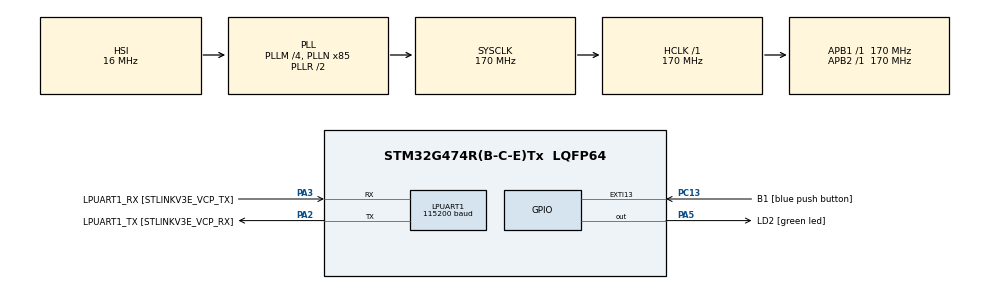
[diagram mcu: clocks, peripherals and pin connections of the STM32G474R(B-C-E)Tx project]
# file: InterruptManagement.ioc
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FREERTOS.Tasks01=defaultTask,24,128,StartDefaultTask,Default,NULL,Dynamic,NULL,NULL
FREERTOS.configENABLE_FPU=1
FREERTOS.configTOTAL_HEAP_SIZE=51200
FREERTOS.configUSE_NEWLIB_REENTRANT=1
LPUART1.BaudRate=115200
LPUART1.WordLength=UART_WORDLENGTH_8B
Mcu.Family=STM32G4
Mcu.Name=STM32G474R(B-C-E)Tx
Mcu.Package=LQFP64
NVIC.EXTI15_10_IRQn=true\:5\:0\:false\:false\:true\:true\:true\:true\:true
NVIC.PriorityGroup=NVIC_PRIORITYGROUP_4
NVIC.TIM1_UP_TIM16_IRQn=true\:15\:0\:false\:false\:true\:false\:false\:true\:true
NVIC.TIM6_DAC_IRQn=true\:5\:0\:false\:false\:true\:true\:true\:true\:true
NVIC.TimeBase=TIM1_UP_TIM16_IRQn
NVIC.TimeBaseIP=TIM1
PA13.GPIO_Label=T_SWDIO
PA13.Mode=Serial_Wire
PA13.Signal=SYS_JTMS-SWDIO
PA14.GPIO_Label=T_SWCLK
PA14.Mode=Serial_Wire
PA14.Signal=SYS_JTCK-SWCLK
PA2.GPIO_Label=LPUART1_TX [STLINKV3E_VCP_RX]
PA2.Mode=Asynchronous
PA2.Signal=LPUART1_TX
PA3.GPIO_Label=LPUART1_RX [STLINKV3E_VCP_TX]
PA3.Mode=Asynchronous
PA3.Signal=LPUART1_RX
PA5.GPIO_Label=LD2 [green led]
PA5.Signal=GPIO_Output
PB3.GPIO_Label=T_SWO
PB3.Signal=SYS_JTDO-SWO
PC13.GPIO_Label=B1 [blue push button]
PC13.Signal=GPXTI13
PC14-OSC32_IN.Mode=LSE-External-Oscillator
PC14-OSC32_IN.Signal=RCC_OSC32_IN
PC15-OSC32_OUT.Mode=LSE-External-Oscillator
PC15-OSC32_OUT.Signal=RCC_OSC32_OUT
PF0-OSC_IN.Mode=HSE-External-Oscillator
PF0-OSC_IN.Signal=RCC_OSC_IN
PF1-OSC_OUT.Mode=HSE-External-Oscillator
PF1-OSC_OUT.Signal=RCC_OSC_OUT
ProjectManager.HeapSize=0x200
ProjectManager.StackSize=0x400
ProjectManager.TargetToolchain=STM32CubeIDE
RCC.ADC12Freq_Value=170000000
RCC.ADC345Freq_Value=170000000
RCC.AHBFreq_Value=170000000
RCC.APB1Freq_Value=170000000
RCC.APB1TimFreq_Value=170000000
RCC.APB2Freq_Value=170000000
RCC.APB2TimFreq_Value=170000000
RCC.CortexFreq_Value=170000000
RCC.EXTERNAL_CLOCK_VALUE=12288000
RCC.HCLKFreq_Value=170000000
RCC.HSE_VALUE=24000000
RCC.HSI48_VALUE=48000000
RCC.HSI_VALUE=16000000
RCC.PLLM=RCC_PLLM_DIV4
RCC.PLLN=85
RCC.RTCClockSelection=RCC_RTCCLKSOURCE_LSE
RCC.SYSCLKFreq_VALUE=170000000
RCC.SYSCLKSource=RCC_SYSCLKSOURCE_PLLCLK
RCC.USBFreq_Value=170000000
RCC.VCOOutputFreq_Value=340000000
TIM6.AutoReloadPreload=TIM_AUTORELOAD_PRELOAD_ENABLE
TIM6.PeriodNoDither=8000-1
TIM6.Prescaler=10000-1
VP_FREERTOS_VS_CMSIS_V2.Mode=CMSIS_V2
VP_SYS_VS_DBSignals.Mode=DisableDeadBatterySignals
VP_SYS_VS_tim1.Mode=TIM1
VP_TIM6_VS_ClockSourceINT.Mode=Enable_Timer
board=NUCLEO-G474RE

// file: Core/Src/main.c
/* USER CODE BEGIN Header */
/**
  ******************************************************************************
  * @file           : main.c
  * @brief          : Main program body
  ******************************************************************************
  * @attention
  *
  * Copyright (c) 2023 STMicroelectronics.
  * All rights reserved.
  *
  * This software is licensed under terms that can be found in the LICENSE file
  * in the root directory of this software component.
  * If no LICENSE file comes with this software, it is provided AS-IS.
  *
  ******************************************************************************
  */
/* USER CODE END Header */
#include "main.h"
#include "cmsis_os.h"
#include "usart.h"
#include "tim.h"
#include "gpio.h"

/* USER CODE BEGIN Includes */
#include "stdio.h"
/* USER CODE END Includes */

/* USER CODE BEGIN PD */
#ifdef __GNUC__
#define PUTCHAR_PROTOTYPE int __io_putchar(int ch)
#else
#define PUTCHAR_PROTOTYPE int fputc(int ch, FILE *f)
#endif
// 串口输出调试信息
PUTCHAR_PROTOTYPE {
    HAL_UART_Transmit(&hlpuart1, (uint8_t *) &ch, 1, 0xFFFF);//阻塞方式打印,串口1
    return ch;
}
/* USER CODE END PD */

void SystemClock_Config(void);
void MX_FREERTOS_Init(void);

int main(void)
{

  /* MCU Configuration--------------------------------------------------------*/

  /* Reset of all peripherals, Initializes the Flash interface and the Systick. */
  HAL_Init();

  /* Configure the system clock */
  SystemClock_Config();

  /* Initialize all configured peripherals */
  MX_GPIO_Init();
  MX_LPUART1_UART_Init();
  MX_TIM6_Init();
  /* USER CODE BEGIN 2 */
    // 开启定时器中断
    HAL_TIM_Base_Start_IT(&htim6);
  /* USER CODE END 2 */

  /* Init scheduler */
  osKernelInitialize();  /* Call init function for freertos objects (in freertos.c) */
  MX_FREERTOS_Init();

  /* Start scheduler */
  osKernelStart();

  /* We should never get here as control is now taken by the scheduler */
  /* Infinite loop */
  while (1)
  {

  }
}

void SystemClock_Config(void)
{
  RCC_OscInitTypeDef RCC_OscInitStruct = {0};
  RCC_ClkInitTypeDef RCC_ClkInitStruct = {0};

  /** Configure the main internal regulator output voltage
  */
  HAL_PWREx_ControlVoltageScaling(PWR_REGULATOR_VOLTAGE_SCALE1_BOOST);

  /** Initializes the RCC Oscillators according to the specified parameters
  * in the RCC_OscInitTypeDef structure.
  */
  RCC_OscInitStruct.OscillatorType = RCC_OSCILLATORTYPE_HSI;
  RCC_OscInitStruct.HSIState = RCC_HSI_ON;
  RCC_OscInitStruct.HSICalibrationValue = RCC_HSICALIBRATION_DEFAULT;
  RCC_OscInitStruct.PLL.PLLState = RCC_PLL_ON;
  RCC_OscInitStruct.PLL.PLLSource = RCC_PLLSOURCE_HSI;
  RCC_OscInitStruct.PLL.PLLM = RCC_PLLM_DIV4;
  RCC_OscInitStruct.PLL.PLLN = 85;
  RCC_OscInitStruct.PLL.PLLP = RCC_PLLP_DIV2;
  RCC_OscInitStruct.PLL.PLLQ = RCC_PLLQ_DIV2;
  RCC_OscInitStruct.PLL.PLLR = RCC_PLLR_DIV2;
  if (HAL_RCC_OscConfig(&RCC_OscInitStruct) != HAL_OK)
  {
    Error_Handler();
  }

  /** Initializes the CPU, AHB and APB buses clocks
  */
  RCC_ClkInitStruct.ClockType = RCC_CLOCKTYPE_HCLK|RCC_CLOCKTYPE_SYSCLK
                              |RCC_CLOCKTYPE_PCLK1|RCC_CLOCKTYPE_PCLK2;
  RCC_ClkInitStruct.SYSCLKSource = RCC_SYSCLKSOURCE_PLLCLK;
  RCC_ClkInitStruct.AHBCLKDivider = RCC_SYSCLK_DIV1;
  RCC_ClkInitStruct.APB1CLKDivider = RCC_HCLK_DIV1;
  RCC_ClkInitStruct.APB2CLKDivider = RCC_HCLK_DIV1;

  if (HAL_RCC_ClockConfig(&RCC_ClkInitStruct, FLASH_LATENCY_4) != HAL_OK)
  {
    Error_Handler();
  }
}

void HAL_TIM_PeriodElapsedCallback(TIM_HandleTypeDef *htim)
{
  if (htim->Instance == TIM1) {
    HAL_IncTick();
  }
}

void Error_Handler(void)
{
  __disable_irq();
  while (1)
  {
  }
}

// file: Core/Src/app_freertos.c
/* USER CODE BEGIN Header */
/**
  ******************************************************************************
  * File Name          : app_freertos.c
  * Description        : Code for freertos applications
  ******************************************************************************
  * @attention
  *
  * Copyright (c) 2023 STMicroelectronics.
  * All rights reserved.
  *
  * This software is licensed under terms that can be found in the LICENSE file
  * in the root directory of this software component.
  * If no LICENSE file comes with this software, it is provided AS-IS.
  *
  ******************************************************************************
  */
/* USER CODE END Header */

#include "FreeRTOS.h"
#include "task.h"
#include "main.h"
#include "cmsis_os.h"

/* USER CODE BEGIN Includes */
#include "stdio.h"
/* USER CODE END Includes */

/* USER CODE BEGIN Variables */
// 定义任务句柄
TaskHandle_t taskHandle1;
TaskHandle_t taskHandle2;
TaskHandle_t taskHandle3;
/* USER CODE END Variables */
/* Definitions for defaultTask */
osThreadId_t defaultTaskHandle;
const osThreadAttr_t defaultTask_attributes = {
  .name = "defaultTask",
  .priority = (osPriority_t) osPriorityNormal,
  .stack_size = 128 * 4
};

/* USER CODE BEGIN FunctionPrototypes */
// 测试的任务线程
void Task1(void *argument);

void Task2(void *argument);

void Task3(void *argument);
/* USER CODE END FunctionPrototypes */

void StartDefaultTask(void *argument);

void MX_FREERTOS_Init(void); /* (MISRA C 2004 rule 8.1) */

void MX_FREERTOS_Init(void) {

  /* Create the thread(s) */
  /* creation of defaultTask */
  defaultTaskHandle = osThreadNew(StartDefaultTask, NULL, &defaultTask_attributes);

  /* USER CODE BEGIN RTOS_THREADS */
  /* add threads, ... */
//    xTaskCreate(Task1,"task1",512,NULL,osPriorityLow1,&taskHandle1);
    xTaskCreate(Task2,"task2",512,NULL,osPriorityLow2,&taskHandle2);
//    xTaskCreate(Task3,"task3",512,NULL,osPriorityLow3,&taskHandle3);
  /* USER CODE END RTOS_THREADS */

}

void StartDefaultTask(void *argument)
{
  /* USER CODE BEGIN StartDefaultTask */
  /* Infinite loop */
  for(;;)
  {
//      HAL_GPIO_TogglePin(LD2_GPIO_Port,LD2_Pin);
    osDelay(500);
  }
  /* USER CODE END StartDefaultTask */
}

/* USER CODE BEGIN Application */
void Task1(void *argument) {
    uint32_t i = 1;
    while (1){
        printf("Task1 run:%d\n",i);
        vTaskDelay(500);
        i++;
    }
}

void Task2(void *argument) {
    uint32_t j = 1;
    while (1){
        printf("Task2 run:%d\n",j);
        vTaskDelay(500);
        if (j++%5 == 0){
            vTaskSuspend(NULL);
        }
    }
}

void Task3(void *argument) {
    uint32_t k = 1;
    while (1){
        printf("Task3 run:%d\n",k);
        vTaskDelay(500);
        if (k++ == 10){
            vTaskResume(taskHandle1);
            vTaskSuspend(NULL);
        }
    }
}
/* USER CODE END Application */
